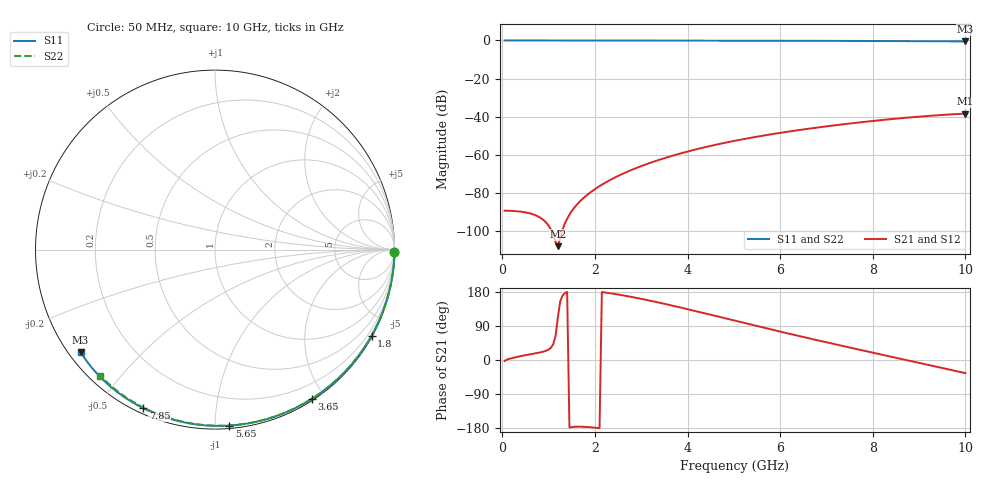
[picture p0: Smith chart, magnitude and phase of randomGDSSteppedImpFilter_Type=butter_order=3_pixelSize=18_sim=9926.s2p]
! freq	dB(S11)	phase(S11)	dB(S12)	phase(S12)
!  dB(S21)	phase(S21)	dB(S22)	phase(S22)
!S-par simulation data
#  GHz  S  DB  R 50
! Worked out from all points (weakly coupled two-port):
!   200 points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, 50 MHz to 10 GHz, reference 50 ohm
!   highest |S21| = -38.31 dB at 10 GHz (marker M1); lowest = -107.8 dB at 1.2 GHz (marker M2)
!   lowest |S11| = -0.5 dB at 10 GHz (marker M3), VSWR 33.28, Z = 1.67 - j16.9 ohm
!   |S11| at or under -10 dB: nowhere
!   |S22| runs from -0.4 to 0.0 dB; largest |S21 - S12| = 0
!   S11 on the Smith chart (normalised r, x): 50 MHz: open; 1.8 GHz: 0.03, -3.89; 3.65 GHz: 0.02, -1.84; 5.65 GHz: 0.02, -1.08; 7.85 GHz: 0.02, -0.65; 10 GHz: 0.03, -0.34
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0.05  -0.00 -0.8  -89.20 -2.3  -89.20 -2.3  -0.00 -0.8
0.6  -0.01 -9.7  -90.62 15.0  -90.62 15.0  -0.01 -9.1
1.2  -0.02 -19.3  -107.77 112.3  -107.77 112.3  -0.02 -18.1
1.75  -0.04 -28.0  -82.62 -176.2  -82.62 -176.2  -0.03 -26.3
1.8  -0.04 -28.8  -81.56 -176.5  -81.56 -176.5  -0.03 -27.0
1.85  -0.04 -29.6  -80.57 -176.9  -80.57 -176.9  -0.04 -27.8
1.9  -0.04 -30.4  -79.63 -177.4  -79.63 -177.4  -0.04 -28.5
2.05  -0.04 -32.7  -77.08 -179.2  -77.08 -179.2  -0.04 -30.7
2.25  -0.04 -35.8  -74.14 177.6  -74.14 177.6  -0.04 -33.6
2.65  -0.05 -42.0  -69.31 169.6  -69.31 169.6  -0.05 -39.4
3  -0.06 -47.3  -65.83 161.4  -65.83 161.4  -0.06 -44.4
3.4  -0.07 -53.3  -62.44 151.0  -62.44 151.0  -0.07 -50.1
3.65  -0.08 -57.0  -60.57 144.1  -60.57 144.1  -0.07 -53.6
4.3  -0.09 -66.5  -56.37 125.3  -56.37 125.3  -0.09 -62.5
5.05  -0.12 -77.1  -52.43 102.9  -52.43 102.9  -0.11 -72.5
5.65  -0.14 -85.3  -49.79 85.1  -49.79 85.1  -0.13 -80.3
6.7  -0.19 -99.3  -45.96 55.0  -45.96 55.0  -0.18 -93.4
7.25  -0.22 -106.5  -44.25 39.8  -44.25 39.8  -0.21 -100.1
7.85  -0.27 -114.3  -42.57 23.4  -42.57 23.4  -0.25 -107.3
8.35  -0.31 -120.7  -41.32 9.9  -41.32 9.9  -0.29 -113.2
9.2  -0.39 -131.8  -39.54 -13.1  -39.54 -13.1  -0.36 -123.1
10  -0.52 -142.7  -38.31 -34.6  -38.31 -34.6  -0.45 -132.3
